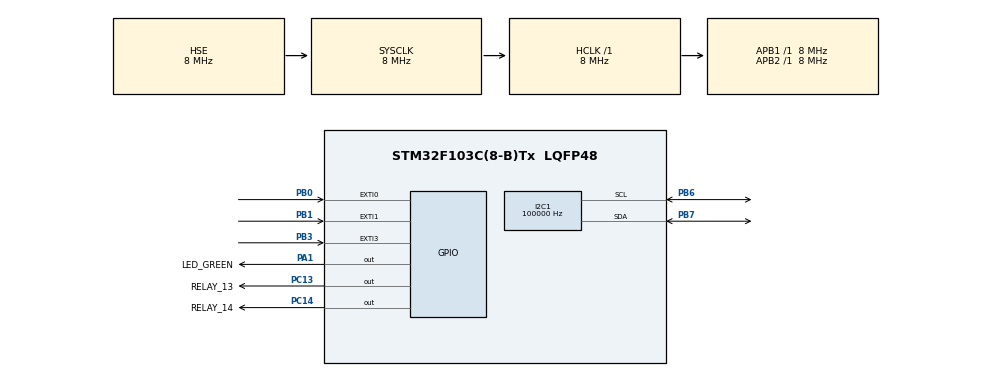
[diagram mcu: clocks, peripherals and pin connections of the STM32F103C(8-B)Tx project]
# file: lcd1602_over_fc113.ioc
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I2C1.ClockSpeed=100000
Mcu.Family=STM32F1
Mcu.Name=STM32F103C(8-B)Tx
Mcu.Package=LQFP48
NVIC.EXTI0_IRQn=true\:1\:0\:true\:false\:true\:true
NVIC.EXTI1_IRQn=true\:2\:0\:true\:false\:true\:true
NVIC.EXTI3_IRQn=true\:0\:0\:false\:false\:true\:true
NVIC.PriorityGroup=NVIC_PRIORITYGROUP_4
PA1.GPIO_Label=LED_GREEN
PA1.Signal=GPIO_Output
PA13.Mode=Serial_Wire
PA13.Signal=SYS_JTMS-SWDIO
PA14.Mode=Serial_Wire
PA14.Signal=SYS_JTCK-SWCLK
PB0.GPIO_ModeDefaultEXTI=GPIO_MODE_IT_FALLING
PB0.GPIO_PuPd=GPIO_PULLUP
PB0.Signal=GPXTI0
PB1.GPIO_ModeDefaultEXTI=GPIO_MODE_IT_FALLING
PB1.GPIO_PuPd=GPIO_PULLUP
PB1.Signal=GPXTI1
PB3.GPIO_ModeDefaultEXTI=GPIO_MODE_IT_FALLING
PB3.GPIO_PuPd=GPIO_PULLUP
PB3.Signal=GPXTI3
PB6.Mode=I2C
PB6.Signal=I2C1_SCL
PB7.Mode=I2C
PB7.Signal=I2C1_SDA
PC13-TAMPER-RTC.GPIO_Label=RELAY_13
PC13-TAMPER-RTC.PinState=GPIO_PIN_SET
PC13-TAMPER-RTC.Signal=GPIO_Output
PC14-OSC32_IN.GPIO_Label=RELAY_14
PC14-OSC32_IN.PinState=GPIO_PIN_SET
PC14-OSC32_IN.Signal=GPIO_Output
PD0-OSC_IN.Mode=HSE-External-Oscillator
PD0-OSC_IN.Signal=RCC_OSC_IN
PD1-OSC_OUT.Mode=HSE-External-Oscillator
PD1-OSC_OUT.Signal=RCC_OSC_OUT
ProjectManager.HeapSize=0x200
ProjectManager.StackSize=0x400
ProjectManager.TargetToolchain=SW4STM32
RCC.AHBFreq_Value=8000000
RCC.APB1Freq_Value=8000000
RCC.APB1TimFreq_Value=8000000
RCC.APB2Freq_Value=8000000
RCC.APB2TimFreq_Value=8000000
RCC.HCLKFreq_Value=8000000
RCC.PLLSourceVirtual=RCC_PLLSOURCE_HSE
RCC.SYSCLKFreq_VALUE=8000000
RCC.SYSCLKSource=RCC_SYSCLKSOURCE_HSE
RCC.USBFreq_Value=16000000
board=custom

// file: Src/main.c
/**
  ******************************************************************************
  * @file           : main.c
  * @brief          : Main program body
  ******************************************************************************
  ** This notice applies to any and all portions of this file
  * that are not between comment pairs USER CODE BEGIN and
  * USER CODE END. Other portions of this file, whether
  * inserted by the user or by software development tools
  * are owned by their respective copyright owners.
  *
  * COPYRIGHT(c) 2018 STMicroelectronics
  *
  * Redistribution and use in source and binary forms, with or without modification,
  * are permitted provided that the following conditions are met:
  *   1. Redistributions of source code must retain the above copyright notice,
  *      this list of conditions and the following disclaimer.
  *   2. Redistributions in binary form must reproduce the above copyright notice,
  *      this list of conditions and the following disclaimer in the documentation
  *      and/or other materials provided with the distribution.
  *   3. Neither the name of STMicroelectronics nor the names of its contributors
  *      may be used to endorse or promote products derived from this software
  *      without specific prior written permission.
  *
  * THIS SOFTWARE IS PROVIDED BY THE COPYRIGHT HOLDERS AND CONTRIBUTORS "AS IS"
  * AND ANY EXPRESS OR IMPLIED WARRANTIES, INCLUDING, BUT NOT LIMITED TO, THE
  * IMPLIED WARRANTIES OF MERCHANTABILITY AND FITNESS FOR A PARTICULAR PURPOSE ARE
  * DISCLAIMED. IN NO EVENT SHALL THE COPYRIGHT HOLDER OR CONTRIBUTORS BE LIABLE
  * FOR ANY DIRECT, INDIRECT, INCIDENTAL, SPECIAL, EXEMPLARY, OR CONSEQUENTIAL
  * DAMAGES (INCLUDING, BUT NOT LIMITED TO, PROCUREMENT OF SUBSTITUTE GOODS OR
  * SERVICES; LOSS OF USE, DATA, OR PROFITS; OR BUSINESS INTERRUPTION) HOWEVER
  * CAUSED AND ON ANY THEORY OF LIABILITY, WHETHER IN CONTRACT, STRICT LIABILITY,
  * OR TORT (INCLUDING NEGLIGENCE OR OTHERWISE) ARISING IN ANY WAY OUT OF THE USE
  * OF THIS SOFTWARE, EVEN IF ADVISED OF THE POSSIBILITY OF SUCH DAMAGE.
  *
  ******************************************************************************
  */
#include "main.h"
#include "stm32f1xx_hal.h"
#include "i2c.h"
#include "gpio.h"

/* USER CODE BEGIN Includes */
	#include <string.h>
	#include "lcd1602_fc113_sm.h"
	#define ADR_I2C_FC113 0x27

	volatile int ic_reset = 0;
	volatile int ic_work = 0;
/* USER CODE END Includes */

/* USER CODE BEGIN PV */
/* Private variables ---------------------------------------------------------*/

/* USER CODE END PV */

void SystemClock_Config(void);

/* USER CODE BEGIN PFP */
/* Private function prototypes -----------------------------------------------*/

/* USER CODE END PFP */

int main(void)
{
  /* USER CODE BEGIN 1 */
	uint8_t SizeChar;
	char DataChar[32];

  /* USER CODE END 1 */

  /* MCU Configuration----------------------------------------------------------*/

  /* Reset of all peripherals, Initializes the Flash interface and the Systick. */
  HAL_Init();

  /* Configure the system clock */
  SystemClock_Config();

  /* Initialize all configured peripherals */
  MX_GPIO_Init();
  MX_I2C1_Init();
  /* USER CODE BEGIN 2 */

	lcd1602_fc113_struct h1_lcd1602_fc113 =
	{
		.i2c = &hi2c1,
		.device_i2c_address = ADR_I2C_FC113
	};

	LCD1602_Init(&h1_lcd1602_fc113);
	I2C_ScanBus(&h1_lcd1602_fc113);
//	sprintf(DataChar,"AB1,AB2,AB3,AB4,AB5,AB6,AB7.");
//	SizeChar = strlen(DataChar);
//	LCD1602_Print_Line(&h1_lcd1602_fc113, DataChar, SizeChar);
//	HAL_Delay(1000);
	LCD1602_Clear(&h1_lcd1602_fc113);
	int ic_cnt_1 = 0;
	int ic_cnt_2 = 0;

	sprintf(DataChar,"ic1 = %d\n", ic_cnt_1);
	SizeChar = strlen(DataChar);
	LCD1602_Print_Line(&h1_lcd1602_fc113, DataChar, SizeChar);

	sprintf(DataChar,"ic2 = %d\n", ic_cnt_2);
	SizeChar = strlen(DataChar);
	LCD1602_Print_Line(&h1_lcd1602_fc113, DataChar, SizeChar);

  /* USER CODE END 2 */

  /* Infinite loop */
  /* USER CODE BEGIN WHILE */
  while (1)
  {
	  if (ic_work == 1)
	  {
		ic_cnt_1++;
		ic_cnt_2++;

		HAL_GPIO_TogglePin(RELAY_13_GPIO_Port, RELAY_13_Pin);
		//HAL_Delay(50);
		sprintf(DataChar,"ic1 = %d\n", ic_cnt_1);
		SizeChar = strlen(DataChar);
		LCD1602_Print_Line(&h1_lcd1602_fc113, DataChar, SizeChar);

		HAL_GPIO_TogglePin(RELAY_14_GPIO_Port, RELAY_14_Pin);
		//HAL_Delay(50);
		sprintf(DataChar,"ic2 = %d\n", ic_cnt_2);
		SizeChar = strlen(DataChar);
		LCD1602_Print_Line(&h1_lcd1602_fc113, DataChar, SizeChar);
	  }

	if (ic_reset == 1)
	{
		ic_cnt_1 = 0;
		ic_cnt_2 = 0;
		ic_work  = 0;
		ic_reset = 0;
		LCD1602_Clear(&h1_lcd1602_fc113);
	}
  /* USER CODE END WHILE */

  /* USER CODE BEGIN 3 */
	HAL_GPIO_TogglePin(LED_GREEN_GPIO_Port,LED_GREEN_Pin);
  }
  /* USER CODE END 3 */

}

void SystemClock_Config(void)
{

  RCC_OscInitTypeDef RCC_OscInitStruct;
  RCC_ClkInitTypeDef RCC_ClkInitStruct;

    /**Initializes the CPU, AHB and APB busses clocks
    */
  RCC_OscInitStruct.OscillatorType = RCC_OSCILLATORTYPE_HSE;
  RCC_OscInitStruct.HSEState = RCC_HSE_ON;
  RCC_OscInitStruct.PLL.PLLState = RCC_PLL_NONE;
  if (HAL_RCC_OscConfig(&RCC_OscInitStruct) != HAL_OK)
  {
    _Error_Handler(__FILE__, __LINE__);
  }

    /**Initializes the CPU, AHB and APB busses clocks
    */
  RCC_ClkInitStruct.ClockType = RCC_CLOCKTYPE_HCLK|RCC_CLOCKTYPE_SYSCLK
                              |RCC_CLOCKTYPE_PCLK1|RCC_CLOCKTYPE_PCLK2;
  RCC_ClkInitStruct.SYSCLKSource = RCC_SYSCLKSOURCE_HSE;
  RCC_ClkInitStruct.AHBCLKDivider = RCC_SYSCLK_DIV1;
  RCC_ClkInitStruct.APB1CLKDivider = RCC_HCLK_DIV1;
  RCC_ClkInitStruct.APB2CLKDivider = RCC_HCLK_DIV1;

  if (HAL_RCC_ClockConfig(&RCC_ClkInitStruct, FLASH_LATENCY_0) != HAL_OK)
  {
    _Error_Handler(__FILE__, __LINE__);
  }

    /**Configure the Systick interrupt time
    */
  HAL_SYSTICK_Config(HAL_RCC_GetHCLKFreq()/1000);

    /**Configure the Systick
    */
  HAL_SYSTICK_CLKSourceConfig(SYSTICK_CLKSOURCE_HCLK);

  /* SysTick_IRQn interrupt configuration */
  HAL_NVIC_SetPriority(SysTick_IRQn, 0, 0);
}

void _Error_Handler(char *file, int line)
{
  while(1)
  {
  }
}

/************************ (C) COPYRIGHT STMicroelectronics *****END OF FILE****/
